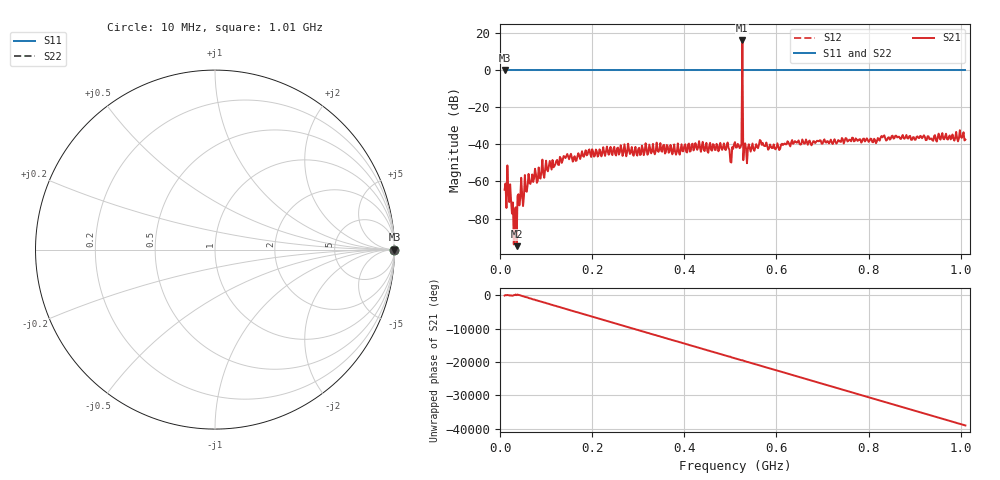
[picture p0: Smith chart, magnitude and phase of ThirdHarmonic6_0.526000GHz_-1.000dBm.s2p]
! 8/15/2025 4:17:57 PM
! C:\ANRITSUVNA\TEMP\TEMP.S2P
! CHANNEL.1
! TR.MEASUREMENT
! RAW.DATA
! RF.CORRECTION.OFF
! AVERAGING.OFF
! IF.BANDWIDTH: 5KHZ
! SWEEPTYPE:  FREQ.SWEEP(Linear)
! Reference Plane Port Info
! PORT:  PORT1  PORT2
! DISTANCE:  0  m  0  m
! TIME:  0  s  0  s
! PHASE.OFFSET:  0  deg.  0  deg.
! LOSS:  0  dB  0  dB
! REF.LOSS:  0  dB  0  dB
! REF.FREQ:  0  Hz  0  Hz
! Power Info
! POWER:  -20  dBm  -20  dBm
! EFF.POWER:  -20  dBm  -20  dBm
! SOURCE.ATTEN:  0  dB  0  dB
! TEST.ATTEN:  0  dB  0  dB
# GHZ S RI R 50.0
! FREQ.GHZ  S11RE  S11IM  S21RE  S21IM  S12RE  S12IM  S22RE  S22IM
!; PortSelection: Port_12
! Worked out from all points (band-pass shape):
!   501 points, 10 MHz to 1.01 GHz, reference 50 ohm
!   highest |S21| = 15.90 dB at 526 MHz (marker M1); lowest = -94.9 dB at 36 MHz (marker M2)
!   |S21| within 3 dB of the highest: 525.8925 MHz to 526.093 MHz (200.5 kHz wide, 0.0381 % of centre)
!   lowest |S11| = 0.0 dB at 10 MHz (marker M3)
!   |S11| at or under -10 dB: nowhere
!   |S22| runs from 0.0 to 0.0 dB; largest |S21 - S12| = 5.3
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0.01  1 0  -0.00051 -0.00031  1 0  1 0
0.02  1 0  0.000129 -0.000246  1 0  1 0
0.028  1 0  -0.00027 1.13e-05  1 0  1 0
0.036  1 0  1.61e-05 -8e-06  1 0  1 0
0.042  1 0  0.000225 -2.19e-05  1 0  1 0
0.074  1 0  -0.000226 0.0012  1 0  1 0
0.142  1 0  -0.00386 -0.00176  1 0  1 0
0.178  1 0  -0.00627 -0.00163  1 0  1 0
0.344  1 0  0.00622 0.000378  1 0  1 0
0.49  1 0  -0.000168 -0.00697  1 0  1 0
0.502  1 0  -0.00197 0.00256  1 0  1 0
0.51  1 0  -0.0114 0.00104  1 0  1 0
0.52  1 0  -0.00562 0.00548  1 0  1 0
0.522  1 0  0.00305 0.00774  1 0  1 0
0.526  1 0  5.892 -2.054  1 0  1 0
0.53  1 0  -0.00299 0.00805  1 0  1 0
0.532  1 0  0.01 0.00337  1 0  1 0
0.566  1 0  -0.00179 0.0121  1 0  1 0
0.594  1 0  0.00433 0.00892  1 0  1 0
0.678  1 0  0.00528 -0.00915  1 0  1 0
0.844  1 0  -0.00306 0.0151  1 0  1 0
1.01  1 0  0.00353 -0.0128  1 0  1 0
